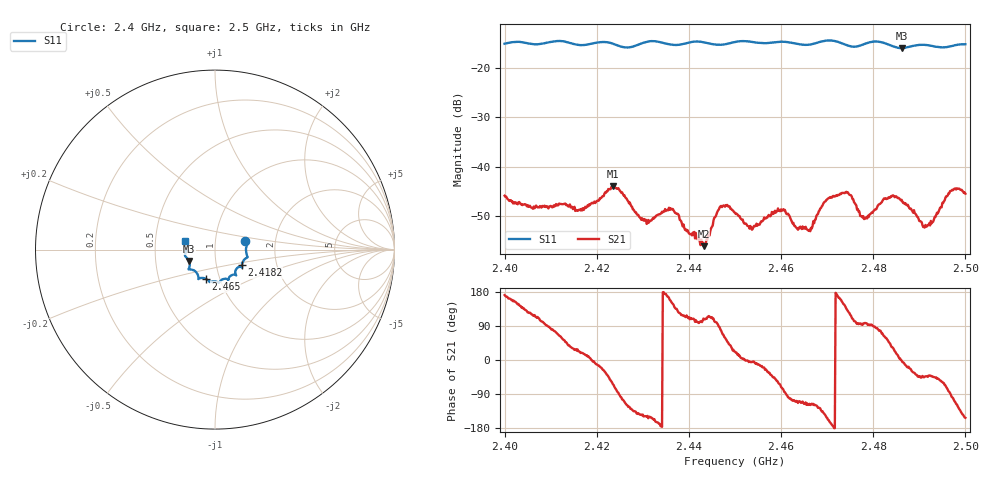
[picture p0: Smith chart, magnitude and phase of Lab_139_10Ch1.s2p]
# Hz S RI R 50
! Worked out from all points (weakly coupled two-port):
!   601 points, 2.4 GHz to 2.5 GHz, reference 50 ohm
!   highest |S21| = -43.97 dB at 2.4235 GHz (marker M1); lowest = -56.0 dB at 2.4432 GHz (marker M2)
!   lowest |S11| = -16.0 dB at 2.4862 GHz (marker M3), VSWR 1.38, Z = 37.1 - j4.82 ohm
!   |S11| at or under -10 dB: start of sweep to end of sweep
!   S12 and S22 are empty: the file has one direction only
!   S11 on the Smith chart (normalised r, x): 2.4 GHz: 1.40, +0.13; 2.4182 GHz: 1.33, -0.23; 2.465 GHz: 0.86, -0.29; 2.5 GHz: 0.71, +0.07
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2.4e9  0.1688 0.0458  -0.00505 0.000777  0 0  0 0
2.416667e9  0.1548 -0.0683  0.00355 0.00124  0 0  0 0
2.418167e9  0.1497 -0.0851  0.00393 0.000711  0 0  0 0
2.4235e9  0.1462 -0.0968  0.00278 -0.00569  0 0  0 0
2.429667e9  0.1133 -0.1346  -0.00236 -0.00171  0 0  0 0
2.433333e9  0.1165 -0.1413  -0.00318 -0.000813  0 0  0 0
2.436167e9  0.0976 -0.1405  -0.00331 0.00166  0 0  0 0
2.443167e9  0.0715 -0.1666  -0.000527 0.00149  0 0  0 0
2.446833e9  0.0453 -0.1644  0.000637 0.00393  0 0  0 0
2.45e9  0.0251 -0.1807  0.00319 0.00128  0 0  0 0
2.4535e9  0.0164 -0.1824  0.00243 -0.000248  0 0  0 0
2.460333e9  -0.0287 -0.1811  0.000904 -0.00355  0 0  0 0
2.465e9  -0.0527 -0.1622  -0.00108 -0.00221  0 0  0 0
2.466667e9  -0.0712 -0.1577  -0.00102 -0.00215  0 0  0 0
2.470833e9  -0.0926 -0.1643  -0.00477 -0.001  0 0  0 0
2.474667e9  -0.0992 -0.134  -0.00314 0.00432  0 0  0 0
2.478167e9  -0.1347 -0.1109  -0.000401 0.00295  0 0  0 0
2.483333e9  -0.142 -0.0959  0.00329 0.00367  0 0  0 0
2.486167e9  -0.1447 -0.0633  0.00464 -0.000106  0 0  0 0
2.491333e9  -0.1672 -0.0313  0.00189 -0.00177  0 0  0 0
2.496833e9  -0.1629 0.0259  -0.000108 -0.00571  0 0  0 0
2.5e9  -0.1665 0.047  -0.00475 -0.00246  0 0  0 0
